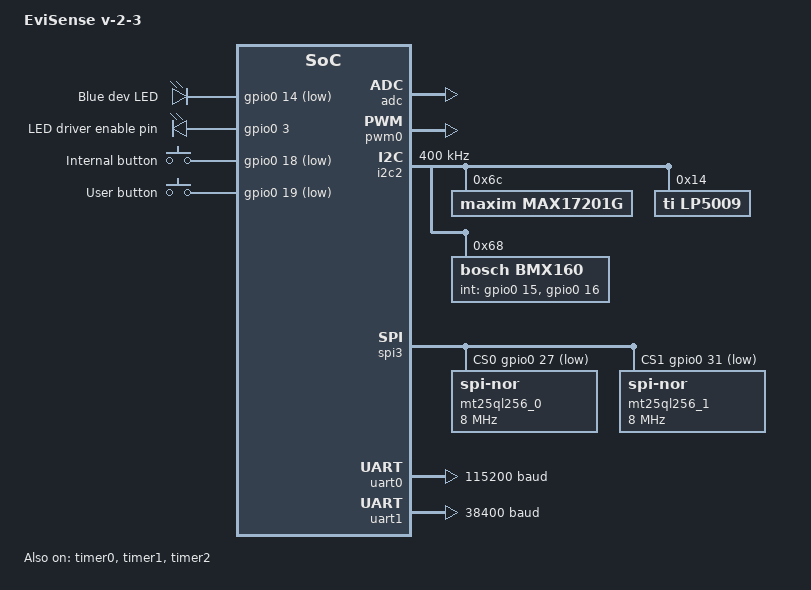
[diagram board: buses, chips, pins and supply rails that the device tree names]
/*
 * Copyright (c) 2019 Nordic Semiconductor ASA
 *
 * SPDX-License-Identifier: LicenseRef-BSD-5-Clause-Nordic
 */

#include "evisense_pcb_v_2_3_common-pinctrl.dtsi"

/ {
	model = "EviSense v-2-3";
	compatible = "keiltronic,evisense_pcb_v_2_3";

	chosen {
		zephyr,console = &uart0;
		zephyr,shell-uart = &uart0;
		zephyr,uart-mcumgr = &uart0;
	};

	aliases{
		led0 = &led0;
		btn0 = &button0;
		btn1 = &button1;
		myspiflash = &mt25ql256_0;
		mysensor = &bmx160;
		myleddriver = &lp5009;
		lp5009enable = &lp5009_enable;
	};

	leds {
		compatible = "gpio-leds";
		led0: led_0 {
			gpios = <&gpio0 14 GPIO_ACTIVE_LOW>;
			label = "Blue dev LED";
		};

		lp5009_enable: lp5009_en {
			gpios = <&gpio0 3 GPIO_ACTIVE_HIGH>;
			label = "LED driver enable pin";
		};
	};

	buttons {
		compatible = "gpio-keys";
		button0: button_0 {
			gpios = <&gpio0 18 (GPIO_PULL_UP | GPIO_ACTIVE_LOW)>;
			label = "Internal button";
		};
		button1: button_1 {
			gpios = <&gpio0 19 (GPIO_PULL_UP | GPIO_ACTIVE_LOW)>;
			label = "User button";
		};
	};
};

&adc {
	status = "okay";
};

&gpiote {
	status = "okay";
};

&gpio0 {
	status = "okay";
};

&pwm0 {
	status = "okay";
	pinctrl-0 = <&pwm0_default>;
	pinctrl-1 = <&pwm0_sleep>;
	pinctrl-names = "default", "sleep";
};

&i2c2 {
	compatible = "nordic,nrf-twim";
	status = "okay";
	pinctrl-0 = <&i2c2_default>;
	pinctrl-1 = <&i2c2_sleep>;
	pinctrl-names = "default", "sleep";
	clock-frequency = <I2C_BITRATE_FAST>;

	max17201g: max17201g@6c {
		compatible = "maxim,max17201g";
		reg = <0x6c>;
	};

	lp5009: lp5009@14 {
		compatible = "ti,lp5009";
		reg = <0x14>;
	};

	bmx160: bmx160@68 {
		compatible = "bosch,bmx160";
		reg = <0x68>;
		int-gpios = <&gpio0 15 0>, <&gpio0 16 0>;
	};

};

&spi3 {
	compatible = "nordic,nrf-spim";
	status = "okay";
	cs-gpios = <&gpio0 27 GPIO_ACTIVE_LOW>, <&gpio0 31 GPIO_ACTIVE_LOW>;
	pinctrl-0 = <&spi3_default>;
	pinctrl-1 = <&spi3_sleep>;
	pinctrl-names = "default", "sleep";

	mt25ql256_0: mt25ql256@0 {
		compatible = "jedec,spi-nor";
		reg = <0>;
		jedec-id = [ 20 BA 19  ];
		size = <268435456>;
		spi-max-frequency = <8000000>;
	};

	mt25ql256_1: mt25ql256@1 {
		compatible = "jedec,spi-nor";
		reg = <1>;
		jedec-id = [ 20 BA 19  ];
		size = <268435456>;
		spi-max-frequency = <8000000>;
	};
};

&timer0 {
	status = "okay";
};

&timer1 {
	status = "okay";
};

&timer2 {
	status = "okay";
};

&uart0 {
	compatible = "nordic,nrf-uarte";
	current-speed = <115200>;
	status = "okay";
	pinctrl-0 = <&uart0_default>;
	pinctrl-1 = <&uart0_sleep>;
	pinctrl-names = "default", "sleep";
};

&uart1 {
	compatible = "nordic,nrf-uarte";
	current-speed = <38400>;
	status = "okay";
	pinctrl-0 = <&uart1_default>;
	pinctrl-1 = <&uart1_sleep>;
	pinctrl-names = "default", "sleep";
};

&flash0 {
	/*
	 * For more information, see:
	 * http: //docs.zephyrproject.org/devices/dts/flash_partitions.html
	 */
	partitions {
		compatible = "fixed-partitions";
		#address-cells = <1>;
		#size-cells = <1>;

		boot_partition: partition@0 {
			label = "mcuboot";
			reg = <0x00000000 0x10000>;
		};
		slot0_partition: partition@10000 {
			label = "image-0";
		};
		slot0_ns_partition: partition@40000 {
			label = "image-0-nonsecure";
		};
		slot1_partition: partition@80000 {
			label = "image-1";
		};
		slot1_ns_partition: partition@b0000 {
			label = "image-1-nonsecure";
		};
		scratch_partition: partition@f0000 {
			label = "image-scratch";
			reg = <0x000f0000 0xa000>;
		};
		storage_partition: partition@fa000 {
			label = "storage";
			reg = <0x000fa000 0x00006000>;
		};
	};
};

/ {

	reserved-memory {
		#address-cells = <1>;
		#size-cells = <1>;
		ranges;

		sram0_s: image_s@20000000 {
			/* Secure image memory */
		};

		sram0_bsd: image_bsd@20010000 {
			/* BSD (shared) memory */
		};

		sram0_ns: image_ns@20020000 {
			/* Non-Secure image memory */
		};
	};
};

/* Include partition configuration file */
#include "evisense_pcb_v_2_3_partition_conf.dts"

